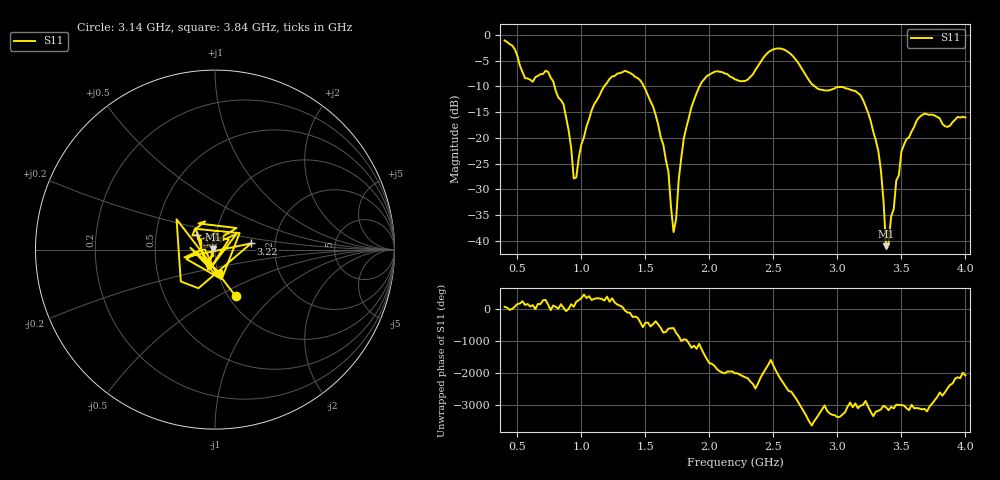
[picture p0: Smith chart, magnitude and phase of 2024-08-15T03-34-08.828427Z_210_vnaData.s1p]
!Created with skrf (http://scikit-rf.org).
# Hz S RI R 50.0
!freq ReS11 ImS11
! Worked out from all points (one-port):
!   181 points, 400 MHz to 4 GHz, reference 50 ohm
!   lowest |S11| = -41.0 dB at 3.38 GHz (marker M1), VSWR 1.02, Z = 49.1 + j0.119 ohm
!   |S11| at or under -10 dB: 790.5 MHz to 1.177 GHz (386.9 MHz wide, 39.3 % of centre); 1.488 GHz to 1.922 GHz (433.8 MHz wide, 25.4 % of centre); 2.825 GHz to end of sweep
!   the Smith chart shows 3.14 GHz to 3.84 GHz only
!   S11 on the Smith chart (normalised r, x): 3.14 GHz: 1.08, -0.61; 3.22 GHz: 1.50, +0.11; 3.6 GHz: 0.81, +0.13; 3.84 GHz: 1.01, -0.26
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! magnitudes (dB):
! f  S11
! 400 MHz  -1.1
! 560 MHz  -8.4
! 740 MHz  -7.2
! 860 MHz  -13.4
! 940 MHz  -27.9
! 960 MHz  -27.7
! 1.08 GHz  -14.6
! 1.3 GHz  -7.4
! 1.56 GHz  -13.9
! 1.68 GHz  -26.6
! 1.72 GHz  -38.3
! 1.76 GHz  -28.2
! 1.82 GHz  -18.0
! 1.94 GHz  -9.2
! 2.2 GHz  -8.6
! 2.5 GHz  -2.8
! 2.66 GHz  -4.3
! 2.84 GHz  -10.3
! 3.1 GHz  -10.6
! 3.14 GHz  -10.9
! 3.22 GHz  -13.8
! 3.32 GHz  -22.6
! 3.38 GHz  -41.0
! 3.5 GHz  -22.7
! 3.56 GHz  -19.9
! 3.6 GHz  -17.8
! 3.84 GHz  -17.7
! 4 GHz  -16.0
